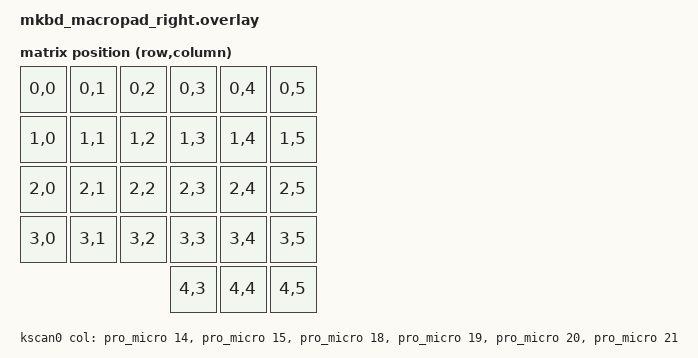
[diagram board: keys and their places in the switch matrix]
#include "mkbd_macropad.dtsi"

/ {
    chosen {
        zmk,matrix_transform = &right_transform;
    };
};

&default_transform {
    col-offset = <6>;
};

right_transform: keymap_transform_1 {
    compatible = "zmk,matrix-transform";
    columns = <6>;
    rows = <5>;
    col-offset = <6>;
    map = <
RC(0,0) RC(0,1) RC(0,2) RC(0,3) RC(0,4) RC(0,5)
RC(1,0) RC(1,1) RC(1,2) RC(1,3) RC(1,4) RC(1,5)
RC(2,0) RC(2,1) RC(2,2) RC(2,3) RC(2,4) RC(2,5)
RC(3,0) RC(3,1) RC(3,2) RC(3,3) RC(3,4) RC(3,5)
                        RC(4,3) RC(4,4) RC(4,5)
    >;
};

&kscan0 {
    col-gpios
        = <&pro_micro 14 GPIO_ACTIVE_HIGH>
        , <&pro_micro 15 GPIO_ACTIVE_HIGH>
        , <&pro_micro 18 GPIO_ACTIVE_HIGH>
        , <&pro_micro 19 GPIO_ACTIVE_HIGH>
        , <&pro_micro 20 GPIO_ACTIVE_HIGH>
        , <&pro_micro 21 GPIO_ACTIVE_HIGH>
        ;
};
